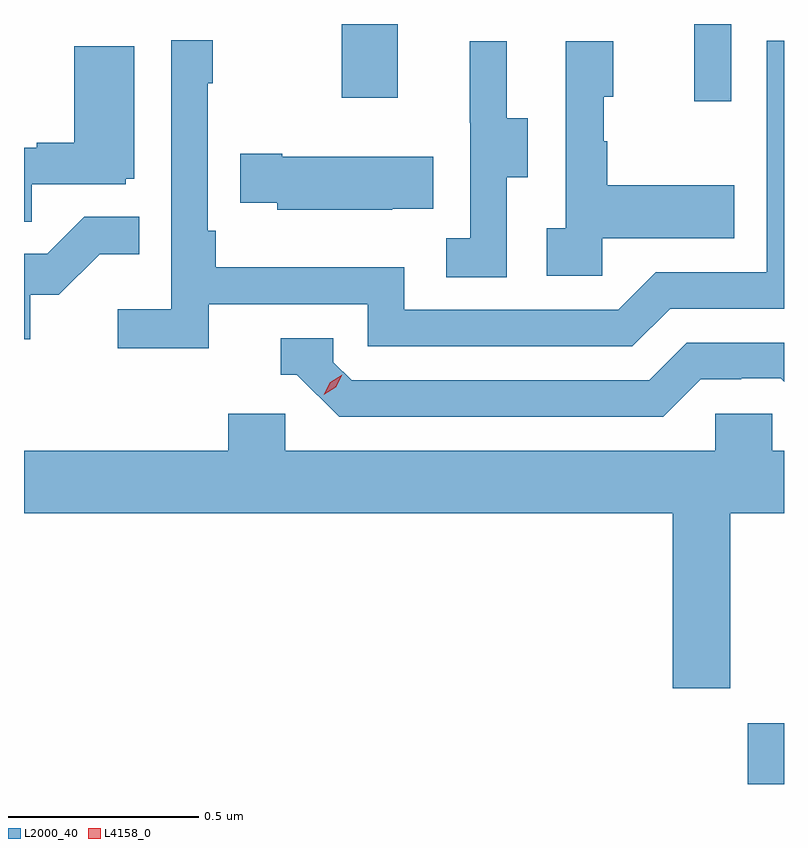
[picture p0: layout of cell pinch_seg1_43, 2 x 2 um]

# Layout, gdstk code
import gdstk
lib = gdstk.Library(unit=1e-6, precision=1e-09)
def R(c, l, rs):  # rectangles x0, y0, x1, y1
    for r in rs: c.add(gdstk.rectangle(r[:2], r[2:], *l))
def P(c, l, *ps):  # polygons
    for p in ps: c.add(gdstk.Polygon(p, *l))
L2000_40 = (2000, 40)
L4158_0 = (4158, 0)

pinch_seg1_43 = lib.new_cell('pinch_seg1_43')
R(pinch_seg1_43, L2000_40, [(1087.529,564.339,1087.624,564.499), (1087.388,566.136,1087.485,566.339), (1086.46,566.145,1086.607,566.339)])
P(pinch_seg1_43, L2000_40, [(1086.11,565.602),(1086.528,565.602),(1086.528,565.491),(1087.225,565.491),(1087.324,565.59),(1087.624,565.59),(1087.624,566.295),(1087.578,566.295),(1087.578,565.686),(1087.287,565.686),(1087.188,565.587),(1086.624,565.587),(1086.624,565.699),(1086.128,565.699),(1086.128,565.795),(1086.108,565.795),(1086.108,566.183),(1086.121,566.183),(1086.121,566.296),(1086.012,566.296),(1086.012,565.588),(1085.871,565.588),(1085.871,565.486),(1086.11,565.486)],
  [(1087.146,565.775),(1087.493,565.775),(1087.493,565.915),(1087.159,565.915),(1087.159,566.03),(1087.149,566.03),(1087.149,566.148),(1087.174,566.148),(1087.174,566.293),(1087.05,566.293),(1087.05,565.802),(1086.999,565.802),(1086.999,565.677),(1087.146,565.677)],
  [(1086.894,565.936),(1086.949,565.936),(1086.949,566.091),(1086.895,566.091),(1086.895,566.293),(1086.797,566.293),(1086.797,566.079),(1086.798,566.079),(1086.798,565.775),(1086.735,565.775),(1086.735,565.672),(1086.894,565.672)],
  [(1085.645,565.917),(1085.892,565.917),(1085.892,565.932),(1085.914,565.932),(1085.914,566.281),(1085.756,566.281),(1085.756,566.026),(1085.657,566.026),(1085.657,566.013),(1085.624,566.013),(1085.624,565.819),(1085.645,565.819)],
  [(1086.593,565.853),(1086.701,565.853),(1086.701,565.99),(1086.304,565.99),(1086.304,565.998),(1086.193,565.998),(1086.193,565.868),(1086.291,565.868),(1086.291,565.85),(1086.593,565.85)],
  [(1085.64,565.626),(1085.716,565.626),(1085.823,565.733),(1085.927,565.733),(1085.927,565.832),(1085.783,565.832),(1085.685,565.734),(1085.624,565.734),(1085.624,565.509),(1085.64,565.509)],
  [(1087.405,565.404),(1087.512,565.404),(1087.512,565.407),(1087.615,565.407),(1087.624,565.398),(1087.624,565.5),(1087.368,565.5),(1087.269,565.401),(1086.486,565.401),(1086.438,565.449),(1086.438,565.512),(1086.299,565.512),(1086.299,565.416),(1086.342,565.416),(1086.453,565.305),(1087.306,565.305)],
  [(1087.483,565.052),(1087.624,565.052),(1087.624,565.216),(1087.593,565.216),(1087.593,565.314),(1087.443,565.314),(1087.443,565.216),(1086.312,565.216),(1086.312,565.314),(1086.161,565.314),(1086.161,565.216),(1085.624,565.216),(1085.624,565.052),(1087.331,565.052),(1087.331,564.591),(1087.483,564.591)])
P(pinch_seg1_43, L4158_0, [(1086.413,565.363),(1086.413,565.363),(1086.43,565.396),(1086.461,565.416),(1086.461,565.416),(1086.461,565.416),(1086.445,565.383),(1086.413,565.363)])

lib.write_gds('pinch_seg1_43.gds')
